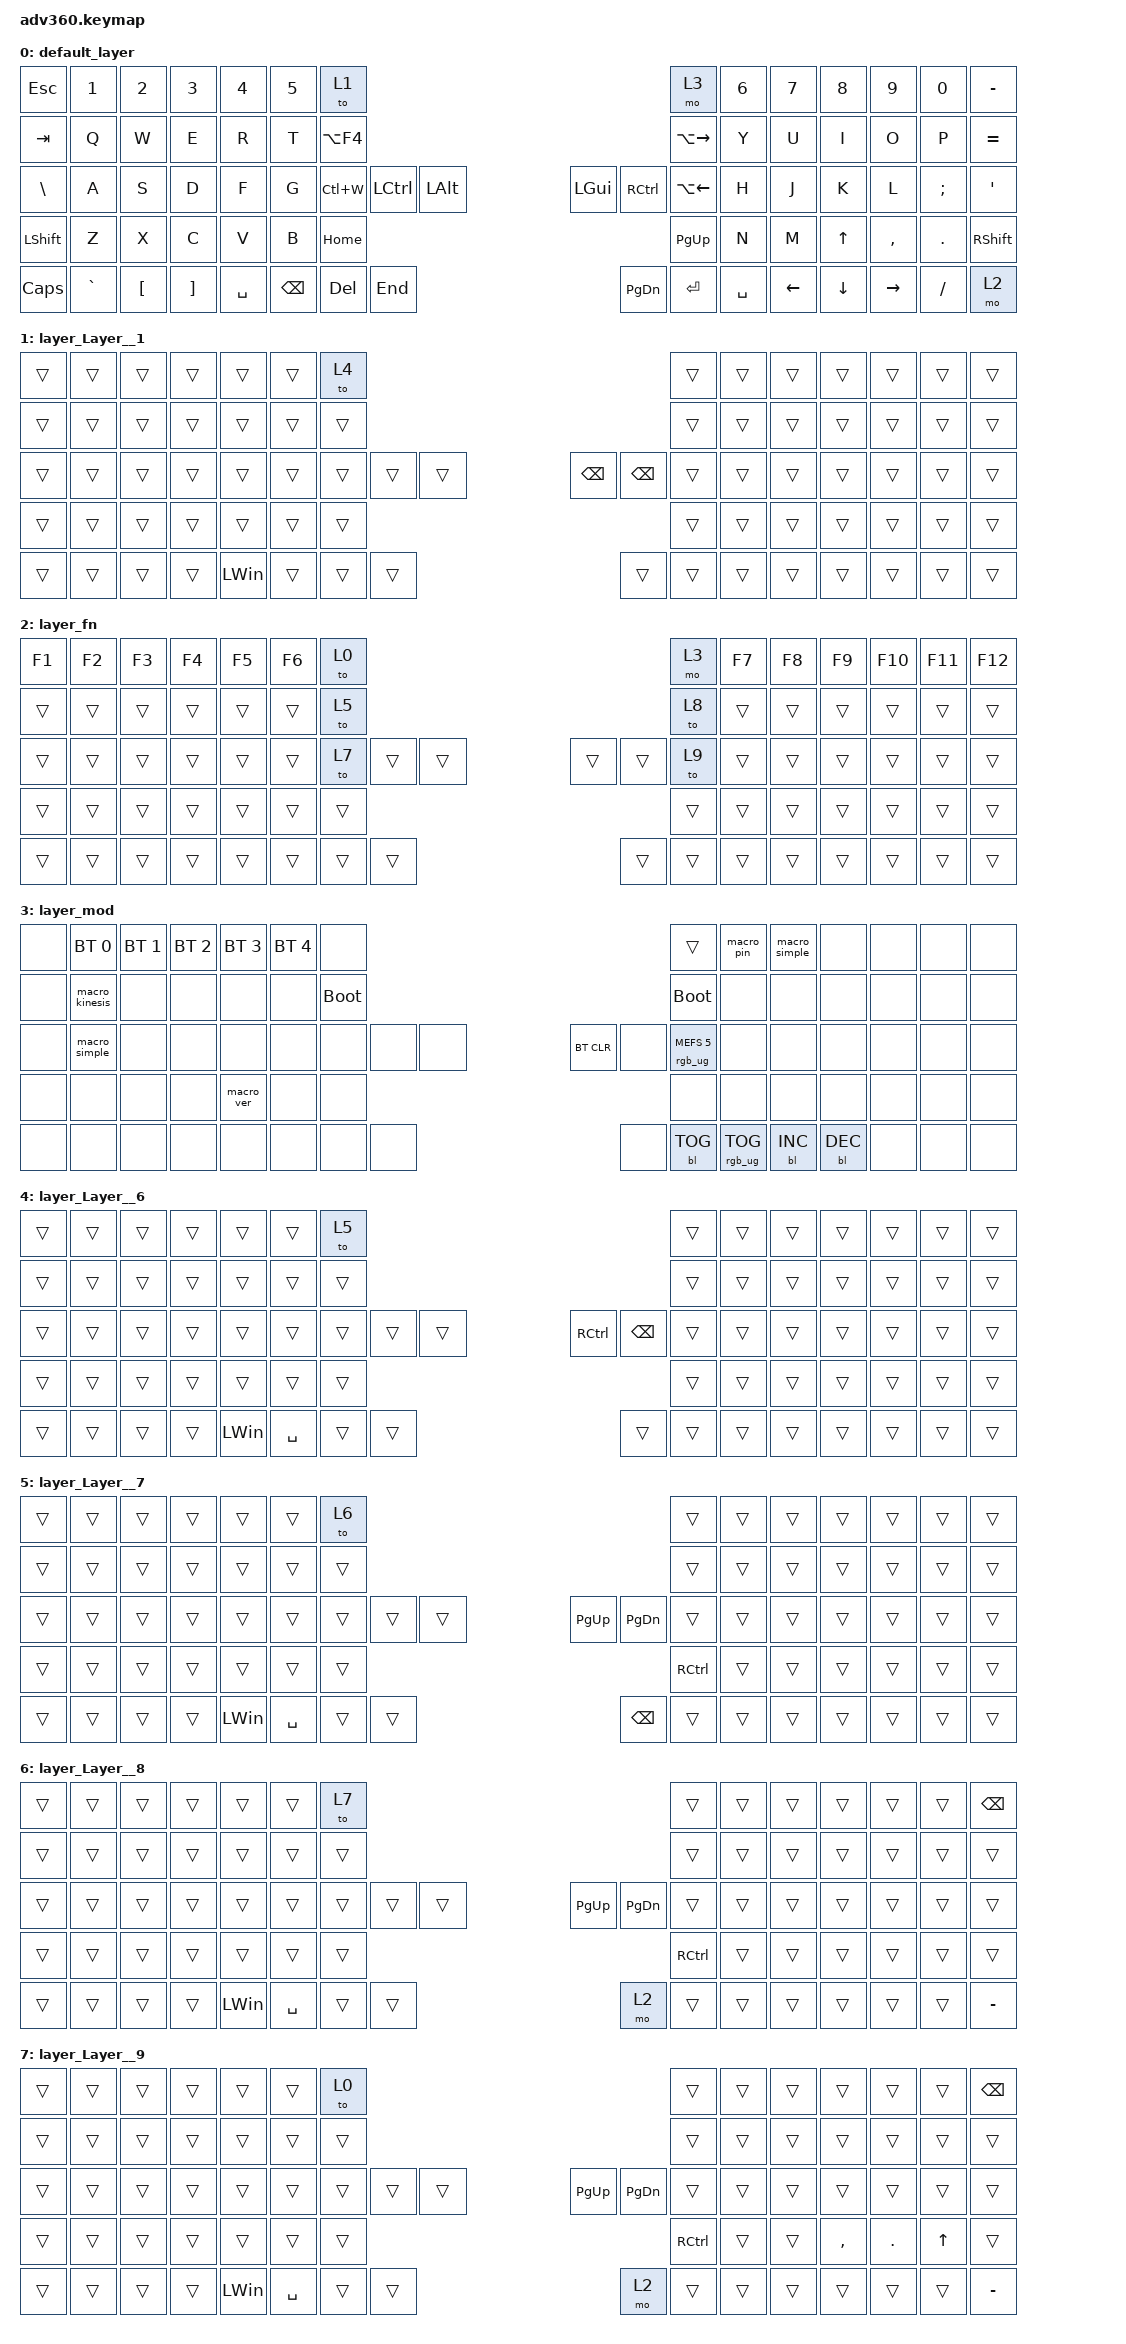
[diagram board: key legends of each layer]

/*
 * Copyright (c) 2020 The ZMK Contributors
 *
 * SPDX-License-Identifier: MIT
 */


/* THIS FILE WAS GENERATED!
 *
 * This file was generated automatically. You may or may not want to
 * edit it directly.
 */

#include <behaviors.dtsi>
#include <dt-bindings/zmk/keys.h>
#include <dt-bindings/zmk/bt.h>
#include <dt-bindings/zmk/rgb.h>
#include <dt-bindings/zmk/backlight.h>

/ {
  behaviors {
    #include "macros.dtsi"
    #include "version.dtsi"

    hm: homerow_mods {
        compatible = "zmk,behavior-hold-tap";
        label = "HOMEROW_MODS";
        #binding-cells = <2>;
        tapping-term-ms = <200>;
        quick_tap_ms = <175>;
        flavor = "tap-preferred";
        bindings = <&kp>, <&kp>;
    };
  };

    keymap {
        compatible = "zmk,keymap";


        default_layer {
            bindings = <
   &kp ESC     &kp N1    &kp N2    &kp N3     &kp N4  &kp N5                    &to 1                                                                     &mo 3  &kp N6    &kp N7    &kp N8     &kp N9      &kp N0  &kp MINUS
   &kp TAB      &kp Q     &kp W     &kp E      &kp R   &kp T               &kp LA(F4)                                                             &kp LA(RIGHT)   &kp Y     &kp U     &kp I      &kp O       &kp P  &kp EQUAL
  &kp BSLH      &kp A     &kp S     &kp D      &kp F   &kp G                &kp LC(W)  &kp LCTRL  &kp LALT                   &kp LGUI  &kp RCTRL   &kp LA(LEFT)   &kp H     &kp J     &kp K      &kp L    &kp SEMI    &kp SQT
 &kp LSHFT      &kp Z     &kp X     &kp C      &kp V   &kp B                                      &kp HOME                  &kp PG_UP                             &kp N     &kp M    &kp UP  &kp COMMA  &kp PERIOD  &kp RSHFT
  &kp CAPS  &kp GRAVE  &kp LBKT  &kp RBKT  &kp SPACE                    &kp BACKSPACE    &kp DEL   &kp END                  &kp PG_DN  &kp ENTER      &kp SPACE          &kp LEFT  &kp DOWN  &kp RIGHT   &kp SLASH      &mo 2
            >;
        };

        layer_Layer__1 {
            bindings = <
 &trans  &trans  &trans  &trans    &trans  &trans             &to 4                                                                &trans  &trans  &trans  &trans  &trans  &trans  &trans
 &trans  &trans  &trans  &trans    &trans  &trans            &trans                                                                &trans  &trans  &trans  &trans  &trans  &trans  &trans
 &trans  &trans  &trans  &trans    &trans  &trans            &trans  &trans  &trans                  &kp BACKSPACE  &kp BACKSPACE  &trans  &trans  &trans  &trans  &trans  &trans  &trans
 &trans  &trans  &trans  &trans    &trans  &trans                            &trans                         &trans                         &trans  &trans  &trans  &trans  &trans  &trans
 &trans  &trans  &trans  &trans  &kp LWIN                    &trans  &trans  &trans                         &trans         &trans  &trans          &trans  &trans  &trans  &trans  &trans
            >;
        };

        layer_fn {
            bindings = <
 &kp F1  &kp F2  &kp F3  &kp F4  &kp F5  &kp F6             &to 0                                                   &mo 3  &kp F7  &kp F8  &kp F9  &kp F10  &kp F11  &kp F12
 &trans  &trans  &trans  &trans  &trans  &trans             &to 5                                                   &to 8  &trans  &trans  &trans   &trans   &trans   &trans
 &trans  &trans  &trans  &trans  &trans  &trans             &to 7  &trans  &trans                  &trans  &trans   &to 9  &trans  &trans  &trans   &trans   &trans   &trans
 &trans  &trans  &trans  &trans  &trans  &trans                            &trans                  &trans                  &trans  &trans  &trans   &trans   &trans   &trans
 &trans  &trans  &trans  &trans  &trans                    &trans  &trans  &trans                  &trans  &trans  &trans          &trans  &trans   &trans   &trans   &trans
            >;
        };

        layer_mod {
            bindings = <
  &none    &bt BT_SEL 0  &bt BT_SEL 1  &bt BT_SEL 2  &bt BT_SEL 3  &bt BT_SEL 4                  &none                                                                          &trans  &macro_pin  &macro_simple       &none   &none   &none   &none
  &none  &macro_kinesis         &none         &none         &none         &none            &bootloader                                                                     &bootloader       &none          &none       &none   &none   &none   &none
  &none   &macro_simple         &none         &none         &none         &none                  &none   &none   &none                  &bt BT_CLR       &none  &rgb_ug RGB_MEFS_CMD 5       &none          &none       &none   &none   &none   &none
  &none           &none         &none         &none    &macro_ver         &none                                  &none                       &none                                           &none          &none       &none   &none   &none   &none
  &none           &none         &none         &none         &none                                &none   &none   &none                       &none  &bl BL_TOG         &rgb_ug RGB_TOG                 &bl BL_INC  &bl BL_DEC   &none   &none   &none
            >;
        };

        layer_Layer__6 {
            bindings = <
 &trans  &trans  &trans  &trans        &trans  &trans                &to 5                                                            &trans  &trans  &trans  &trans  &trans  &trans  &trans
 &trans  &trans  &trans  &trans        &trans  &trans               &trans                                                            &trans  &trans  &trans  &trans  &trans  &trans  &trans
 &trans  &trans  &trans  &trans        &trans  &trans               &trans  &trans  &trans                  &kp RCTRL  &kp BACKSPACE  &trans  &trans  &trans  &trans  &trans  &trans  &trans
 &trans  &trans  &trans  &trans        &trans  &trans                               &trans                     &trans                         &trans  &trans  &trans  &trans  &trans  &trans
 &trans  &trans  &trans  &trans  &kp LEFT_WIN                    &kp SPACE  &trans  &trans                     &trans         &trans  &trans          &trans  &trans  &trans  &trans  &trans
            >;
        };

        layer_Layer__7 {
            bindings = <
 &trans  &trans  &trans  &trans        &trans  &trans                &to 6                                                            &trans  &trans  &trans  &trans  &trans  &trans  &trans
 &trans  &trans  &trans  &trans        &trans  &trans               &trans                                                            &trans  &trans  &trans  &trans  &trans  &trans  &trans
 &trans  &trans  &trans  &trans        &trans  &trans               &trans  &trans  &trans                      &kp PG_UP  &kp PG_DN  &trans  &trans  &trans  &trans  &trans  &trans  &trans
 &trans  &trans  &trans  &trans        &trans  &trans                               &trans                      &kp RCTRL                     &trans  &trans  &trans  &trans  &trans  &trans
 &trans  &trans  &trans  &trans  &kp LEFT_WIN                    &kp SPACE  &trans  &trans                  &kp BACKSPACE     &trans  &trans          &trans  &trans  &trans  &trans  &trans
            >;
        };

        layer_Layer__8 {
            bindings = <
 &trans  &trans  &trans  &trans        &trans  &trans                &to 7                                                        &trans  &trans  &trans  &trans  &trans  &trans  &kp BACKSPACE
 &trans  &trans  &trans  &trans        &trans  &trans               &trans                                                        &trans  &trans  &trans  &trans  &trans  &trans         &trans
 &trans  &trans  &trans  &trans        &trans  &trans               &trans  &trans  &trans                  &kp PG_UP  &kp PG_DN  &trans  &trans  &trans  &trans  &trans  &trans         &trans
 &trans  &trans  &trans  &trans        &trans  &trans                               &trans                  &kp RCTRL                     &trans  &trans  &trans  &trans  &trans         &trans
 &trans  &trans  &trans  &trans  &kp LEFT_WIN                    &kp SPACE  &trans  &trans                      &mo 2     &trans  &trans          &trans  &trans  &trans  &trans      &kp MINUS
            >;
        };

        layer_Layer__9 {
            bindings = <
 &trans  &trans  &trans  &trans        &trans  &trans                &to 0                                                                &trans  &trans  &trans     &trans      &trans  &trans  &kp BACKSPACE
 &trans  &trans  &trans  &trans        &trans  &trans               &trans                                                                &trans  &trans  &trans     &trans      &trans  &trans         &trans
 &trans  &trans  &trans  &trans        &trans  &trans               &trans  &trans  &trans                          &kp PG_UP  &kp PG_DN  &trans  &trans  &trans     &trans      &trans  &trans         &trans
 &trans  &trans  &trans  &trans        &trans  &trans                               &trans                  &kp RIGHT_CONTROL                     &trans  &trans  &kp COMMA  &kp PERIOD  &kp UP         &trans
 &trans  &trans  &trans  &trans  &kp LEFT_WIN                    &kp SPACE  &trans  &trans                              &mo 2     &trans  &trans          &trans     &trans      &trans  &trans      &kp MINUS
            >;
        };

    };
};
